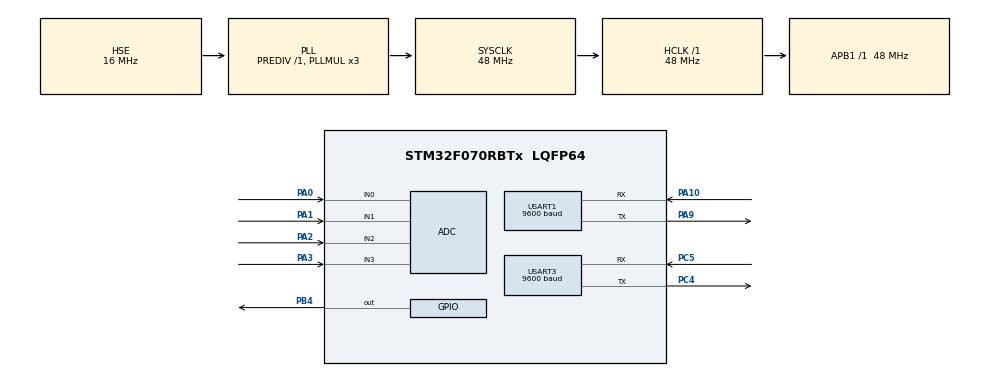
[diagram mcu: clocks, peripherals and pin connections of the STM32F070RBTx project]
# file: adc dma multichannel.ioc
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ADC.ContinuousConvMode=ENABLE
ADC.EOCSelection=ADC_EOC_SEQ_CONV
ADC.SamplingTime=ADC_SAMPLETIME_239CYCLES_5
Dma.ADC.0.Direction=DMA_PERIPH_TO_MEMORY
Dma.ADC.0.Instance=DMA1_Channel1
Dma.ADC.0.MemDataAlignment=DMA_MDATAALIGN_WORD
Dma.ADC.0.MemInc=DMA_MINC_ENABLE
Dma.ADC.0.Mode=DMA_NORMAL
Dma.ADC.0.PeriphDataAlignment=DMA_PDATAALIGN_WORD
Dma.ADC.0.PeriphInc=DMA_PINC_DISABLE
Dma.ADC.0.Priority=DMA_PRIORITY_LOW
Dma.Request0=ADC
Mcu.Family=STM32F0
Mcu.Name=STM32F070RBTx
Mcu.Package=LQFP64
NVIC.DMA1_Channel1_IRQn=true\:0\:0\:false\:false\:true
NVIC.USART1_IRQn=true\:0\:0\:false\:false\:true
NVIC.USART3_4_IRQn=true\:0\:0\:false\:false\:true
PA0.Mode=IN0
PA0.Signal=ADC_IN0
PA1.Mode=IN1
PA1.Signal=ADC_IN1
PA10.Mode=Asynchronous
PA10.Signal=USART1_RX
PA2.Mode=IN2
PA2.Signal=ADC_IN2
PA3.Mode=IN3
PA3.Signal=ADC_IN3
PA9.Mode=Asynchronous
PA9.Signal=USART1_TX
PB4.Signal=GPIO_Output
PC4.Mode=Asynchronous
PC4.Signal=USART3_TX
PC5.Mode=Asynchronous
PC5.Signal=USART3_RX
PF0-OSC_IN.Mode=HSE-External-Oscillator
PF0-OSC_IN.Signal=RCC_OSC_IN
PF1-OSC_OUT.Mode=HSE-External-Oscillator
PF1-OSC_OUT.Signal=RCC_OSC_OUT
ProjectManager.HeapSize=0x200
ProjectManager.StackSize=0x400
ProjectManager.TargetToolchain=MDK-ARM V5
RCC.AHBFreq_Value=48000000
RCC.APB1Freq_Value=48000000
RCC.APB1TimFreq_Value=48000000
RCC.HCLKFreq_Value=48000000
RCC.HSE_VALUE=16000000
RCC.PLLMUL=RCC_PLL_MUL3
RCC.PLLSourceVirtual=RCC_PLLSOURCE_HSE
RCC.SYSCLKFreq_VALUE=48000000
RCC.SYSCLKSource=RCC_SYSCLKSOURCE_PLLCLK
USART1.BaudRate=9600
USART1.VirtualMode-Asynchronous=VM_ASYNC
USART1.WordLength=WORDLENGTH_8B
USART3.BaudRate=9600
USART3.VirtualMode-Asynchronous=VM_ASYNC
USART3.WordLength=WORDLENGTH_8B
board=adc dma multichannel

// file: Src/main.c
/**
  ******************************************************************************
  * File Name          : main.c
  * Description        : Main program body
  ******************************************************************************
  ** This notice applies to any and all portions of this file
  * that are not between comment pairs USER CODE BEGIN and
  * USER CODE END. Other portions of this file, whether
  * inserted by the user or by software development tools
  * are owned by their respective copyright owners.
  *
  * COPYRIGHT(c) 2017 STMicroelectronics
  *
  * Redistribution and use in source and binary forms, with or without modification,
  * are permitted provided that the following conditions are met:
  *   1. Redistributions of source code must retain the above copyright notice,
  *      this list of conditions and the following disclaimer.
  *   2. Redistributions in binary form must reproduce the above copyright notice,
  *      this list of conditions and the following disclaimer in the documentation
  *      and/or other materials provided with the distribution.
  *   3. Neither the name of STMicroelectronics nor the names of its contributors
  *      may be used to endorse or promote products derived from this software
  *      without specific prior written permission.
  *
  * THIS SOFTWARE IS PROVIDED BY THE COPYRIGHT HOLDERS AND CONTRIBUTORS "AS IS"
  * AND ANY EXPRESS OR IMPLIED WARRANTIES, INCLUDING, BUT NOT LIMITED TO, THE
  * IMPLIED WARRANTIES OF MERCHANTABILITY AND FITNESS FOR A PARTICULAR PURPOSE ARE
  * DISCLAIMED. IN NO EVENT SHALL THE COPYRIGHT HOLDER OR CONTRIBUTORS BE LIABLE
  * FOR ANY DIRECT, INDIRECT, INCIDENTAL, SPECIAL, EXEMPLARY, OR CONSEQUENTIAL
  * DAMAGES (INCLUDING, BUT NOT LIMITED TO, PROCUREMENT OF SUBSTITUTE GOODS OR
  * SERVICES; LOSS OF USE, DATA, OR PROFITS; OR BUSINESS INTERRUPTION) HOWEVER
  * CAUSED AND ON ANY THEORY OF LIABILITY, WHETHER IN CONTRACT, STRICT LIABILITY,
  * OR TORT (INCLUDING NEGLIGENCE OR OTHERWISE) ARISING IN ANY WAY OUT OF THE USE
  * OF THIS SOFTWARE, EVEN IF ADVISED OF THE POSSIBILITY OF SUCH DAMAGE.
  *
  ******************************************************************************
  */
#include "main.h"
#include "stm32f0xx_hal.h"

ADC_HandleTypeDef hadc;
DMA_HandleTypeDef hdma_adc;

UART_HandleTypeDef huart1;
UART_HandleTypeDef huart3;

/* USER CODE BEGIN PV */
/* Private variables ---------------------------------------------------------*/
char buffer[50];
unsigned int val[16],len=0;
/* USER CODE END PV */

void SystemClock_Config(void);
static void MX_GPIO_Init(void);
static void MX_DMA_Init(void);
static void MX_ADC_Init(void);
static void MX_USART1_UART_Init(void);
static void MX_USART3_UART_Init(void);

/* USER CODE BEGIN PFP */
/* Private function prototypes -----------------------------------------------*/

/* USER CODE END PFP */

int main(void)
{

  /* MCU Configuration----------------------------------------------------------*/

  /* Reset of all peripherals, Initializes the Flash interface and the Systick. */
  HAL_Init();

  /* Configure the system clock */
  SystemClock_Config();

  /* Initialize all configured peripherals */
  MX_GPIO_Init();
  MX_DMA_Init();
  MX_ADC_Init();
  MX_USART1_UART_Init();
  MX_USART3_UART_Init();

  /* Infinite loop */
  while (1)
  {

  /* USER CODE BEGIN 3 */
HAL_ADC_Start_DMA(&hadc,val,4);

sprintf(buffer,"%d",val[0]);
len=strlen(buffer);
HAL_UART_Transmit(&huart1,"IR is ",6,10);
HAL_UART_Transmit(&huart1,buffer,len,10);
HAL_UART_Transmit(&huart1,"\r\n",1,10);

HAL_UART_Transmit(&huart3,"IR is ",6,10);
HAL_UART_Transmit(&huart3,buffer,len,10);
HAL_UART_Transmit(&huart3,"\r\n",1,10);

sprintf(buffer,"%d",val[1]);
len=strlen(buffer);
HAL_UART_Transmit(&huart1,"MQ5 is ",7,10);
HAL_UART_Transmit(&huart1,buffer,len,10);
HAL_UART_Transmit(&huart1,"\r\n",1,10);

HAL_UART_Transmit(&huart3,"MQ5 is ",7,10);
HAL_UART_Transmit(&huart3,buffer,len,10);
HAL_UART_Transmit(&huart3,"\r\n",1,10);

sprintf(buffer,"%d",val[2]);
len=strlen(buffer);
HAL_UART_Transmit(&huart1,"MQ7 is ",7,10);
HAL_UART_Transmit(&huart1,buffer,len,10);
HAL_UART_Transmit(&huart1,"\r\n",1,10);

HAL_UART_Transmit(&huart3,"MQ7 is ",7,10);
HAL_UART_Transmit(&huart3,buffer,len,10);
HAL_UART_Transmit(&huart3,"\r\n",1,10);

sprintf(buffer,"%d",val[3]);
len=strlen(buffer);
HAL_UART_Transmit(&huart1,"val3 is ",8,10);
HAL_UART_Transmit(&huart1,buffer,len,10);
HAL_UART_Transmit(&huart1,"\r\n",1,10);

HAL_UART_Transmit(&huart3,"val3 is ",8,10);
HAL_UART_Transmit(&huart3,buffer,len,10);
HAL_UART_Transmit(&huart3,"\r\n",1,10);

if(val[0]>500)
{
HAL_GPIO_WritePin(GPIOB,GPIO_PIN_4,1);
}
else
{
HAL_GPIO_WritePin(GPIOB,GPIO_PIN_4,0);
}

HAL_Delay(500);
  }
  /* USER CODE END 3 */

}

/** System Clock Configuration
*/
void SystemClock_Config(void)
{

  RCC_OscInitTypeDef RCC_OscInitStruct;
  RCC_ClkInitTypeDef RCC_ClkInitStruct;
  RCC_PeriphCLKInitTypeDef PeriphClkInit;

    /**Initializes the CPU, AHB and APB busses clocks
    */
  RCC_OscInitStruct.OscillatorType = RCC_OSCILLATORTYPE_HSI14|RCC_OSCILLATORTYPE_HSE;
  RCC_OscInitStruct.HSEState = RCC_HSE_ON;
  RCC_OscInitStruct.HSIState = RCC_HSI_ON;
  RCC_OscInitStruct.HSI14State = RCC_HSI14_ON;
  RCC_OscInitStruct.HSI14CalibrationValue = 16;
  RCC_OscInitStruct.PLL.PLLState = RCC_PLL_ON;
  RCC_OscInitStruct.PLL.PLLSource = RCC_PLLSOURCE_HSE;
  RCC_OscInitStruct.PLL.PLLMUL = RCC_PLL_MUL3;
  RCC_OscInitStruct.PLL.PREDIV = RCC_PREDIV_DIV1;
  if (HAL_RCC_OscConfig(&RCC_OscInitStruct) != HAL_OK)
  {
    _Error_Handler(__FILE__, __LINE__);
  }

    /**Initializes the CPU, AHB and APB busses clocks
    */
  RCC_ClkInitStruct.ClockType = RCC_CLOCKTYPE_HCLK|RCC_CLOCKTYPE_SYSCLK
                              |RCC_CLOCKTYPE_PCLK1;
  RCC_ClkInitStruct.SYSCLKSource = RCC_SYSCLKSOURCE_PLLCLK;
  RCC_ClkInitStruct.AHBCLKDivider = RCC_SYSCLK_DIV1;
  RCC_ClkInitStruct.APB1CLKDivider = RCC_HCLK_DIV1;

  if (HAL_RCC_ClockConfig(&RCC_ClkInitStruct, FLASH_LATENCY_1) != HAL_OK)
  {
    _Error_Handler(__FILE__, __LINE__);
  }

  PeriphClkInit.PeriphClockSelection = RCC_PERIPHCLK_USART1;
  PeriphClkInit.Usart1ClockSelection = RCC_USART1CLKSOURCE_PCLK1;
  if (HAL_RCCEx_PeriphCLKConfig(&PeriphClkInit) != HAL_OK)
  {
    _Error_Handler(__FILE__, __LINE__);
  }

    /**Configure the Systick interrupt time
    */
  HAL_SYSTICK_Config(HAL_RCC_GetHCLKFreq()/1000);

    /**Configure the Systick
    */
  HAL_SYSTICK_CLKSourceConfig(SYSTICK_CLKSOURCE_HCLK);

  /* SysTick_IRQn interrupt configuration */
  HAL_NVIC_SetPriority(SysTick_IRQn, 0, 0);
}

/* ADC init function */
static void MX_ADC_Init(void)
{

  ADC_ChannelConfTypeDef sConfig;

    /**Configure the global features of the ADC (Clock, Resolution, Data Alignment and number of conversion)
    */
  hadc.Instance = ADC1;
  hadc.Init.ClockPrescaler = ADC_CLOCK_ASYNC_DIV1;
  hadc.Init.Resolution = ADC_RESOLUTION_12B;
  hadc.Init.DataAlign = ADC_DATAALIGN_RIGHT;
  hadc.Init.ScanConvMode = ADC_SCAN_DIRECTION_FORWARD;
  hadc.Init.EOCSelection = ADC_EOC_SEQ_CONV;
  hadc.Init.LowPowerAutoWait = DISABLE;
  hadc.Init.LowPowerAutoPowerOff = DISABLE;
  hadc.Init.ContinuousConvMode = ENABLE;
  hadc.Init.DiscontinuousConvMode = DISABLE;
  hadc.Init.ExternalTrigConv = ADC_SOFTWARE_START;
  hadc.Init.ExternalTrigConvEdge = ADC_EXTERNALTRIGCONVEDGE_NONE;
  hadc.Init.DMAContinuousRequests = DISABLE;
  hadc.Init.Overrun = ADC_OVR_DATA_PRESERVED;
  if (HAL_ADC_Init(&hadc) != HAL_OK)
  {
    _Error_Handler(__FILE__, __LINE__);
  }

    /**Configure for the selected ADC regular channel to be converted.
    */
  sConfig.Channel = ADC_CHANNEL_0;
  sConfig.Rank =0;
  sConfig.SamplingTime = ADC_SAMPLETIME_239CYCLES_5;
  if (HAL_ADC_ConfigChannel(&hadc, &sConfig) != HAL_OK)
  {
    _Error_Handler(__FILE__, __LINE__);
  }

    /**Configure for the selected ADC regular channel to be converted.
    */
  sConfig.Channel = ADC_CHANNEL_1;
	sConfig.Rank =1;
  sConfig.SamplingTime = ADC_SAMPLETIME_239CYCLES_5;
  if (HAL_ADC_ConfigChannel(&hadc, &sConfig) != HAL_OK)
  {
    _Error_Handler(__FILE__, __LINE__);
  }

    /**Configure for the selected ADC regular channel to be converted.
    */
  sConfig.Channel = ADC_CHANNEL_2;
	sConfig.Rank =2;
  sConfig.SamplingTime = ADC_SAMPLETIME_239CYCLES_5;
  if (HAL_ADC_ConfigChannel(&hadc, &sConfig) != HAL_OK)
  {
    _Error_Handler(__FILE__, __LINE__);
  }

    /**Configure for the selected ADC regular channel to be converted.
    */
  sConfig.Channel = ADC_CHANNEL_3;
	sConfig.Rank =3;
  sConfig.SamplingTime = ADC_SAMPLETIME_239CYCLES_5;
  if (HAL_ADC_ConfigChannel(&hadc, &sConfig) != HAL_OK)
  {
    _Error_Handler(__FILE__, __LINE__);
  }

}

/* USART1 init function */
static void MX_USART1_UART_Init(void)
{

  huart1.Instance = USART1;
  huart1.Init.BaudRate = 9600;
  huart1.Init.WordLength = UART_WORDLENGTH_8B;
  huart1.Init.StopBits = UART_STOPBITS_1;
  huart1.Init.Parity = UART_PARITY_NONE;
  huart1.Init.Mode = UART_MODE_TX_RX;
  huart1.Init.HwFlowCtl = UART_HWCONTROL_NONE;
  huart1.Init.OverSampling = UART_OVERSAMPLING_16;
  huart1.Init.OneBitSampling = UART_ONE_BIT_SAMPLE_DISABLE;
  huart1.AdvancedInit.AdvFeatureInit = UART_ADVFEATURE_NO_INIT;
  if (HAL_UART_Init(&huart1) != HAL_OK)
  {
    _Error_Handler(__FILE__, __LINE__);
  }

}

/* USART3 init function */
static void MX_USART3_UART_Init(void)
{

  huart3.Instance = USART3;
  huart3.Init.BaudRate = 9600;
  huart3.Init.WordLength = UART_WORDLENGTH_8B;
  huart3.Init.StopBits = UART_STOPBITS_1;
  huart3.Init.Parity = UART_PARITY_NONE;
  huart3.Init.Mode = UART_MODE_TX_RX;
  huart3.Init.HwFlowCtl = UART_HWCONTROL_NONE;
  huart3.Init.OverSampling = UART_OVERSAMPLING_16;
  huart3.Init.OneBitSampling = UART_ONE_BIT_SAMPLE_DISABLE;
  huart3.AdvancedInit.AdvFeatureInit = UART_ADVFEATURE_NO_INIT;
  if (HAL_UART_Init(&huart3) != HAL_OK)
  {
    _Error_Handler(__FILE__, __LINE__);
  }

}

static void MX_DMA_Init(void)
{
  /* DMA controller clock enable */
  __HAL_RCC_DMA1_CLK_ENABLE();

  /* DMA interrupt init */
  /* DMA1_Channel1_IRQn interrupt configuration */
  HAL_NVIC_SetPriority(DMA1_Channel1_IRQn, 0, 0);
  HAL_NVIC_EnableIRQ(DMA1_Channel1_IRQn);

}

/** Configure pins as
        * Analog
        * Input
        * Output
        * EVENT_OUT
        * EXTI
*/
static void MX_GPIO_Init(void)
{

  GPIO_InitTypeDef GPIO_InitStruct;

  /* GPIO Ports Clock Enable */
  __HAL_RCC_GPIOF_CLK_ENABLE();
  __HAL_RCC_GPIOA_CLK_ENABLE();
  __HAL_RCC_GPIOC_CLK_ENABLE();
  __HAL_RCC_GPIOB_CLK_ENABLE();

  /*Configure GPIO pin Output Level */
  HAL_GPIO_WritePin(GPIOB, GPIO_PIN_4, GPIO_PIN_RESET);

  /*Configure GPIO pin : PB4 */
  GPIO_InitStruct.Pin = GPIO_PIN_4;
  GPIO_InitStruct.Mode = GPIO_MODE_OUTPUT_PP;
  GPIO_InitStruct.Pull = GPIO_NOPULL;
  GPIO_InitStruct.Speed = GPIO_SPEED_FREQ_LOW;
  HAL_GPIO_Init(GPIOB, &GPIO_InitStruct);

}

void _Error_Handler(char * file, int line)
{
  while(1)
  {
  }
}

/************************ (C) COPYRIGHT STMicroelectronics *****END OF FILE****/
